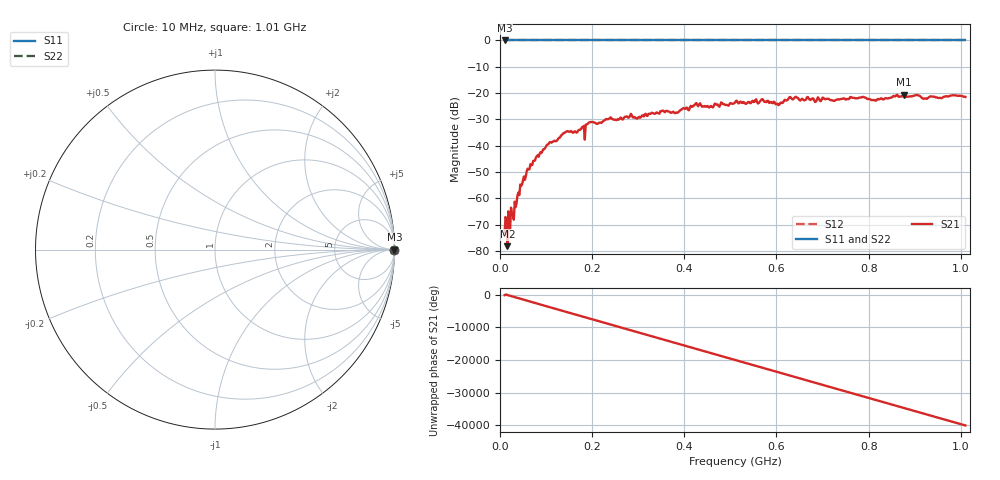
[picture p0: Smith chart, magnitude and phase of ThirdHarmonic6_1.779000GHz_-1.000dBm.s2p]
! 8/16/2025 9:30:23 PM
! C:\ANRITSUVNA\TEMP\TEMP.S2P
! CHANNEL.1
! TR.MEASUREMENT
! RAW.DATA
! RF.CORRECTION.OFF
! AVERAGING.OFF
! IF.BANDWIDTH: 5KHZ
! SWEEPTYPE:  FREQ.SWEEP(Linear)
! Reference Plane Port Info
! PORT:  PORT1  PORT2
! DISTANCE:  0  m  0  m
! TIME:  0  s  0  s
! PHASE.OFFSET:  0  deg.  0  deg.
! LOSS:  0  dB  0  dB
! REF.LOSS:  0  dB  0  dB
! REF.FREQ:  0  Hz  0  Hz
! Power Info
! POWER:  -20  dBm  -20  dBm
! EFF.POWER:  -20  dBm  -20  dBm
! SOURCE.ATTEN:  0  dB  0  dB
! TEST.ATTEN:  0  dB  0  dB
# GHZ S RI R 50.0
! FREQ.GHZ  S11RE  S11IM  S21RE  S21IM  S12RE  S12IM  S22RE  S22IM
!; PortSelection: Port_12
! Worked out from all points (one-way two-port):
!   501 points, 10 MHz to 1.01 GHz, reference 50 ohm
!   highest |S21| = -20.59 dB at 876 MHz (marker M1); lowest = -78.1 dB at 16 MHz (marker M2)
!   lowest |S11| = 0.0 dB at 10 MHz (marker M3)
!   |S11| at or under -10 dB: nowhere
!   |S22| runs from 0.0 to 0.0 dB; largest |S21 - S12| = 1.1
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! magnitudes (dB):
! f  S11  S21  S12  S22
! 10 MHz  0.0  -73.1  0.0  0.0
! 12 MHz  0.0  -67.1  0.0  0.0
! 16 MHz  0.0  -78.1  0.0  0.0
! 18 MHz  0.0  -64.9  0.0  0.0
! 22 MHz  0.0  -71.6  0.0  0.0
! 32 MHz  0.0  -61.2  0.0  0.0
! 48 MHz  0.0  -54.8  0.0  0.0
! 76 MHz  0.0  -45.6  0.0  0.0
! 104 MHz  0.0  -39.5  0.0  0.0
! 142 MHz  0.0  -34.8  0.0  0.0
! 178 MHz  0.0  -33.0  0.0  0.0
! 236 MHz  0.0  -29.7  0.0  0.0
! 344 MHz  0.0  -27.7  0.0  0.0
! 424 MHz  0.0  -24.1  0.0  0.0
! 510 MHz  0.0  -23.6  0.0  0.0
! 568 MHz  0.0  -22.4  0.0  0.0
! 602 MHz  0.0  -24.0  0.0  0.0
! 630 MHz  0.0  -21.5  0.0  0.0
! 678 MHz  0.0  -22.0  0.0  0.0
! 844 MHz  0.0  -21.9  0.0  0.0
! 876 MHz  0.0  -20.6  0.0  0.0
! 1.01 GHz  0.0  -21.4  0.0  0.0
